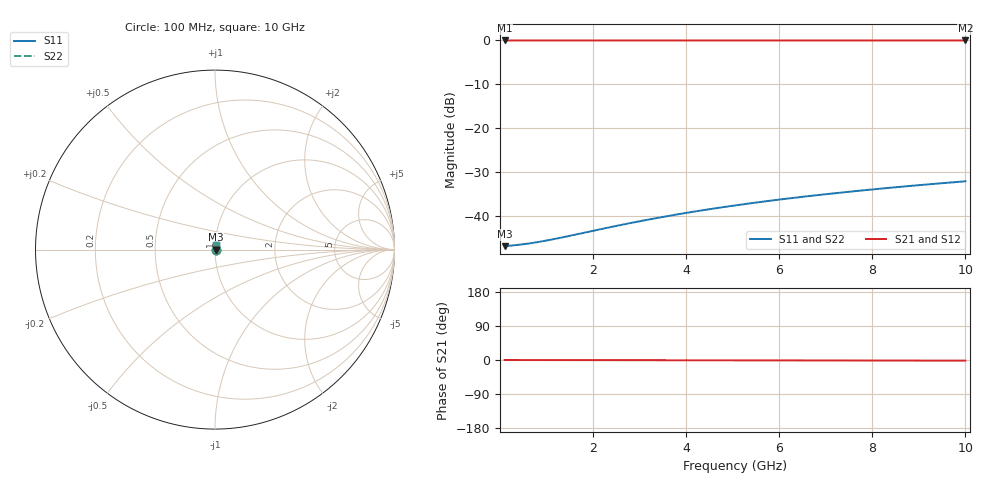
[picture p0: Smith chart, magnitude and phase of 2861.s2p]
# Hz S RI R 50.00
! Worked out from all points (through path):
!   100 points, 100 MHz to 10 GHz, reference 50 ohm
!   highest |S21| = -0.04 dB at 100 MHz (marker M1); lowest = 0.0 dB at 10 GHz (marker M2)
!   lowest |S11| = -46.9 dB at 100 MHz (marker M3), VSWR 1.01, Z = 50.5 + j0.0243 ohm
!   |S11| at or under -10 dB: start of sweep to end of sweep
!   |S22| runs from -46.9 to -32.1 dB; largest |S21 - S12| = 0
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1e8  0.00452 0.000241  0.9955 -0.000298  0.9955 -0.000298  0.00452 0.000241
3e8  0.00457 0.000724  0.9954 -0.000895  0.9954 -0.000895  0.00457 0.000724
5e8  0.00461 0.00121  0.9954 -0.00149  0.9954 -0.00149  0.00461 0.00121
8e8  0.00464 0.00193  0.9954 -0.00239  0.9954 -0.00239  0.00464 0.00193
1e9  0.00466 0.00241  0.9953 -0.00298  0.9953 -0.00298  0.00466 0.00241
1.2e9  0.00468 0.00289  0.9953 -0.00358  0.9953 -0.00358  0.00468 0.00289
1.8e9  0.00473 0.00434  0.9953 -0.00537  0.9953 -0.00537  0.00473 0.00434
2.3e9  0.00477 0.00555  0.9952 -0.00686  0.9952 -0.00686  0.00477 0.00555
2.7e9  0.0048 0.00651  0.9952 -0.00806  0.9952 -0.00806  0.0048 0.00651
3.1e9  0.00484 0.00747  0.9952 -0.00925  0.9952 -0.00925  0.00484 0.00747
3.4e9  0.00486 0.0082  0.9951 -0.0101  0.9951 -0.0101  0.00486 0.0082
3.8e9  0.00489 0.00916  0.9951 -0.0113  0.9951 -0.0113  0.00489 0.00916
4.2e9  0.00493 0.0101  0.9951 -0.0125  0.9951 -0.0125  0.00493 0.0101
4.6e9  0.00496 0.0111  0.995 -0.0137  0.995 -0.0137  0.00496 0.0111
5.1e9  0.00501 0.0123  0.995 -0.0152  0.995 -0.0152  0.00501 0.0123
5.5e9  0.00505 0.0133  0.9949 -0.0164  0.9949 -0.0164  0.00505 0.0133
5.9e9  0.0051 0.0142  0.9949 -0.0176  0.9949 -0.0176  0.0051 0.0142
6.7e9  0.00519 0.0162  0.9948 -0.02  0.9948 -0.02  0.00519 0.0162
7.5e9  0.00528 0.0181  0.9947 -0.0224  0.9947 -0.0224  0.00528 0.0181
8.4e9  0.00541 0.0203  0.9946 -0.0251  0.9946 -0.0251  0.00541 0.0203
9.2e9  0.00552 0.0222  0.9945 -0.0275  0.9945 -0.0275  0.00552 0.0222
1e10  0.00565 0.0241  0.9943 -0.0299  0.9943 -0.0299  0.00565 0.0241
